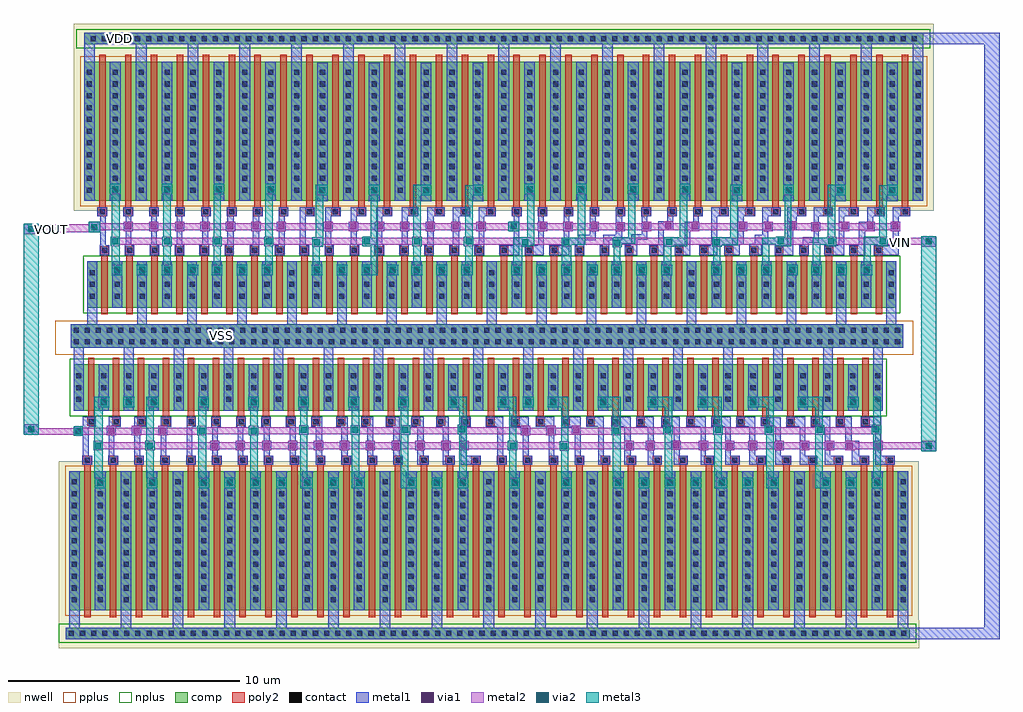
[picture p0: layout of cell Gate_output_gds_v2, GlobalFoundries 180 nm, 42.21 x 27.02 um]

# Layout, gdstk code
from math import pi, radians
import gdstk
lib = gdstk.Library(unit=1e-6, precision=1e-09)
def R(c, l, rs):  # rectangles x0, y0, x1, y1
    for r in rs: c.add(gdstk.rectangle(r[:2], r[2:], *l))
def A(c, l, x, y, w, h, nx, ny, dx, dy):  # array of equal rectangles
    R(c, l, [(x+i*dx, y+j*dy, x+i*dx+w, y+j*dy+h) for i in range(nx) for j in range(ny)])
nwell = (21, 0)
comp = (22, 0)
poly2 = (30, 0)
pplus = (31, 0)
nplus = (32, 0)
contact = (33, 0)
metal1 = (34, 0)
via1 = (35, 0)
metal2 = (36, 0)
via2 = (38, 0)
metal3 = (42, 0)

via_dev_13 = lib.new_cell('via_dev$13')
R(via_dev_13, comp, [(0,0,36,1)])
A(via_dev_13, contact, 0.13, 0.15, 0.22, 0.22, 75, 2, 0.48, 0.48)
R(via_dev_13, metal1, [(0,0,36,1)])

via_dev_10 = lib.new_cell('via_dev$10')
R(via_dev_10, comp, [(0,0,36.3,0.5)])
A(via_dev_10, contact, 0.28, 0.14, 0.22, 0.22, 75, 1, 0.48, 0)
R(via_dev_10, metal1, [(0,0,36.3,0.5)])

via_dev_15 = lib.new_cell('via_dev$15')
R(via_dev_15, comp, [(0,0,36.5,0.5)])
A(via_dev_15, contact, 0.14, 0.14, 0.22, 0.22, 76, 1, 0.48, 0)
R(via_dev_15, metal1, [(0,0,36.5,0.5)])

pfet = lib.new_cell('pfet')
R(pfet, nwell, [(-0.9,-0.44,1.56,6.44)])
R(pfet, comp, [(-0.46,0,0,6), (0,0,0.66,6), (0.66,0,1.12,6)])
R(pfet, poly2, [(0.14,-0.68,0.52,-0.3), (0.19,-0.3,0.47,6.3)])
R(pfet, pplus, [(-0.63,-0.24,1.29,6.24)])
A(pfet, contact, -0.34, 0.34, 0.22, 0.22, 1, 11, 0, 0.51)
A(pfet, contact, 0.78, 0.34, 0.22, 0.22, 1, 11, 0, 0.51)
R(pfet, contact, [(0.22,-0.6,0.44,-0.38)])
R(pfet, metal1, [(0.14,-0.681,0.52,-0.299), (-0.42,0.26,-0.04,5.74), (0.7,0.26,1.08,5.74)])

nfet = lib.new_cell('nfet')
R(nfet, comp, [(-0.42,0,0,2), (0,0,0.66,2), (0.66,0,1.08,2)])
R(nfet, poly2, [(0.19,-0.3,0.47,2.3), (0.15,2.3,0.51,2.66)])
R(nfet, nplus, [(-0.59,-0.24,1.25,2.24)])
A(nfet, contact, -0.32, 0.38, 0.22, 0.22, 1, 3, 0, 0.51)
A(nfet, contact, 0.76, 0.38, 0.22, 0.22, 1, 3, 0, 0.51)
R(nfet, contact, [(0.22,2.37,0.44,2.59)])
R(nfet, metal1, [(-0.4,0.3,-0.02,1.7), (0.68,0.3,1.06,1.7), (0.14,2.289,0.52,2.671)])

via_dev = lib.new_cell('via_dev')
R(via_dev, metal1, [(0,0,0.46,0.46)])
R(via_dev, via1, [(0.1,0.1,0.36,0.36)])
R(via_dev, metal2, [(0,0,0.46,0.46)])
R(via_dev, via2, [(0.1,0.1,0.36,0.36)])
R(via_dev, metal3, [(0,0,0.46,0.46)])

via_dev_6 = lib.new_cell('via_dev$6')
R(via_dev_6, metal1, [(0,0,0.4,0.4)])
R(via_dev_6, via1, [(0.07,0.07,0.33,0.33)])
R(via_dev_6, metal2, [(0,0,0.4,0.4)])

via_dev_4 = lib.new_cell('via_dev$4')
R(via_dev_4, metal1, [(0,0,0.48,0.46)])
R(via_dev_4, via1, [(0.11,0.1,0.37,0.36)])
R(via_dev_4, metal2, [(0,0,0.48,0.46)])
R(via_dev_4, via2, [(0.11,0.1,0.37,0.36)])
R(via_dev_4, metal3, [(0,0,0.48,0.46)])

via_dev_5 = lib.new_cell('via_dev$5')
R(via_dev_5, metal2, [(0,0,0.4,0.4)])
R(via_dev_5, via2, [(0.07,0.07,0.33,0.33)])
R(via_dev_5, metal3, [(0,0,0.4,0.4)])

via_dev_7 = lib.new_cell('via_dev$7')
R(via_dev_7, metal1, [(0,0,0.65,0.46)])
R(via_dev_7, via1, [(0.195,0.1,0.455,0.36)])
R(via_dev_7, metal2, [(0,0,0.65,0.46)])
R(via_dev_7, via2, [(0.195,0.1,0.455,0.36)])
R(via_dev_7, metal3, [(0,0,0.65,0.46)])

via_dev_11 = lib.new_cell('via_dev$11')
R(via_dev_11, metal1, [(0,0,0.48,0.4)])
R(via_dev_11, via1, [(0.11,0.07,0.37,0.33)])
R(via_dev_11, metal2, [(0,0,0.48,0.4)])
R(via_dev_11, via2, [(0.11,0.07,0.37,0.33)])
R(via_dev_11, metal3, [(0,0,0.48,0.4)])

via_dev_8 = lib.new_cell('via_dev$8')
R(via_dev_8, metal1, [(0,0,0.4,0.4)])
R(via_dev_8, via1, [(0.07,0.07,0.33,0.33)])
R(via_dev_8, metal2, [(0,0,0.4,0.4)])
R(via_dev_8, via2, [(0.07,0.07,0.33,0.33)])
R(via_dev_8, metal3, [(0,0,0.4,0.4)])

gate_output_gds_v2 = lib.new_cell('Gate_output_gds_v2')
R(gate_output_gds_v2, nwell, [(19.78,-10.48,57.01,-9.27), (20.44,15.33,57.63,16.54)])
R(gate_output_gds_v2, pplus, [(19.63,2.22,56.74,3.7)])
R(gate_output_gds_v2, nplus, [(19.78,-10.24,56.88,-9.42), (20.54,15.48,57.47,16.3)])
A(gate_output_gds_v2, metal1, 20.23, -9.58, 0.46, 6.75, 3, 1, 2.24, 0)
A(gate_output_gds_v2, metal1, 24.71, -9.58, 0.46, 6.75, 3, 1, 2.24, 0)
A(gate_output_gds_v2, metal1, 29.19, -9.58, 0.46, 6.75, 7, 1, 2.24, 0)
A(gate_output_gds_v2, metal1, 42.63, -9.58, 0.46, 6.75, 3, 1, 2.24, 0)
A(gate_output_gds_v2, metal1, 47.11, -9.58, 0.46, 6.75, 5, 1, 2.24, 0)
A(gate_output_gds_v2, metal1, 21.35, -8.83, 0.46, 6, 6, 1, 2.24, 0)
A(gate_output_gds_v2, metal1, 37.03, -8.83, 0.46, 6, 7, 1, 2.24, 0)
A(gate_output_gds_v2, metal1, 20.81, -2.54, 0.42, 0.4, 6, 1, 1.12, 0)
A(gate_output_gds_v2, metal1, 28.65, -2.54, 0.42, 0.4, 15, 1, 1.12, 0)
A(gate_output_gds_v2, metal1, 46.57, -2.54, 0.42, 0.4, 3, 1, 1.12, 0)
A(gate_output_gds_v2, metal1, 20.44, -0.2, 0.42, 2.73, 3, 1, 2.16, 0)
A(gate_output_gds_v2, metal1, 21.52, -0.2, 0.42, 2, 16, 1, 2.16, 0)
A(gate_output_gds_v2, metal1, 24.76, -0.2, 0.42, 2.73, 3, 1, 2.16, 0)
A(gate_output_gds_v2, metal1, 29.08, -0.2, 0.42, 2.73, 13, 1, 2.16, 0)
A(gate_output_gds_v2, metal1, 21.02, 3.53, 0.42, 2.73, 3, 1, 2.16, 0)
A(gate_output_gds_v2, metal1, 25.34, 3.53, 0.42, 2.73, 3, 1, 2.16, 0)
A(gate_output_gds_v2, metal1, 33.98, 3.53, 0.42, 2.73, 11, 1, 2.16, 0)
A(gate_output_gds_v2, metal1, 22.1, 4.26, 0.42, 2, 16, 1, 2.16, 0)
A(gate_output_gds_v2, metal1, 22.64, 6.53, 0.4, 0.42, 4, 1, 4.32, 0)
A(gate_output_gds_v2, metal1, 22.68, 6.83, 0.25, 1.379, 3, 1, 1.1, 0)
A(gate_output_gds_v2, metal1, 31.32, 6.83, 0.25, 1.379, 3, 1, 1.1, 0)
A(gate_output_gds_v2, metal1, 21.46, 8.2, 0.42, 0.4, 8, 1, 1.12, 0)
A(gate_output_gds_v2, metal1, 39.38, 8.2, 0.42, 0.4, 4, 1, 1.12, 0)
A(gate_output_gds_v2, metal1, 44.98, 8.2, 0.42, 0.4, 3, 1, 1.12, 0)
A(gate_output_gds_v2, metal1, 30.96, 8.85, 0.46, 6, 4, 1, 2.24, 0)
A(gate_output_gds_v2, metal1, 48.88, 8.85, 0.46, 6, 4, 1, 2.24, 0)
A(gate_output_gds_v2, metal1, 20.88, 8.89, 0.46, 6.75, 3, 1, 2.24, 0)
A(gate_output_gds_v2, metal1, 22, 8.89, 0.46, 6, 4, 1, 2.24, 0)
A(gate_output_gds_v2, metal1, 25.36, 8.89, 0.46, 6.75, 9, 1, 2.24, 0)
A(gate_output_gds_v2, metal1, 39.92, 8.89, 0.46, 6, 4, 1, 2.24, 0)
A(gate_output_gds_v2, metal1, 43.28, 8.89, 0.46, 6.75, 7, 1, 2.24, 0)
R(gate_output_gds_v2, metal1, [(56.58,-10.08,60.47,-9.58), (59.8,-10.08,60.47,16.14), (34.8,-8.83,35.26,-2.83), (52.72,-8.83,53.18,-2.83), (54.95,-8.83,55.41,-2.83), (27.52,-2.54,27.95,-2.14), (35.28,-2.54,35.56,-0.47), (36.4,-2.54,36.65,-0.47), (37.18,-2.54,37.63,-2.14), (43.12,-2.54,43.36,-0.47), (44.25,-2.54,44.52,-0.89), (45.26,-2.54,45.51,-0.47), (45.44,-2.54,45.87,-2.14), (46.38,-2.54,46.64,-0.47), (47.54,-2.54,47.77,-0.47), (48.62,-2.54,48.85,-0.47), (49.64,-2.54,49.91,-0.47), (49.91,-2.54,50.35,-2.14), (50.78,-2.54,51.01,-0.48), (51.01,-2.54,51.47,-2.14), (51.83,-2.54,52.07,-0.47), (52.07,-2.54,52.59,-2.14), (52.92,-2.54,53.16,-0.47), (53.16,-2.54,53.71,-2.14), (54.07,-2.54,54.41,-1.51), (54.41,-2.54,54.83,-2.14), (55.1,-2.54,55.55,-2.14), (55.53,-2.54,55.95,-2.14), (23.05,-2.15,23.3,-0.47), (24.19,-2.15,24.44,-0.47), (40.97,-2.15,41.22,-0.47), (42.11,-2.15,42.36,-0.47), (20.83,-2.149,21.08,-0.47), (21.94,-2.149,22.19,-0.47), (25.31,-2.149,25.56,-0.89), (26.42,-2.149,26.67,-0.89), (27.52,-2.149,27.77,-0.77), (28.65,-2.149,28.9,-0.77), (29.77,-2.149,30.03,-0.77), (30.89,-2.149,31.17,-0.77), (32.01,-2.149,32.29,-0.77), (33.13,-2.149,33.38,-0.77), (34.25,-2.149,34.53,-0.77), (38.75,-2.149,39,-0.47), (39.86,-2.149,40.11,-0.47), (37.18,-2.14,37.44,-0.77), (55.1,-2.14,55.36,-0.47), (53.8,-1.51,54.07,-0.47), (41.51,-0.91,42.14,-0.47), (20.97,-0.89,21.39,-0.47), (22.06,-0.89,22.46,-0.47), (23.14,-0.89,23.56,-0.47), (24.22,-0.89,24.64,-0.47), (25.31,-0.89,25.71,-0.47), (26.38,-0.89,26.78,-0.47), (27.46,-0.89,27.88,-0.47), (28.54,-0.89,28.96,-0.47), (29.61,-0.89,30.03,-0.47), (30.7,-0.89,31.17,-0.47), (31.78,-0.89,32.29,-0.47), (32.86,-0.89,33.38,-0.47), (33.93,-0.89,34.53,-0.47), (35.02,-0.89,35.42,-0.47), (36.1,-0.89,36.52,-0.47), (37.18,-0.89,37.61,-0.47), (38.25,-0.89,38.75,-0.47), (39.34,-0.89,39.86,-0.47), (40.42,-0.89,40.97,-0.47), (42.6,-0.89,43.12,-0.47), (43.68,-0.89,44.52,-0.47), (44.76,-0.89,45.26,-0.47), (45.84,-0.89,46.38,-0.47), (46.92,-0.89,47.54,-0.47), (48,-0.89,48.62,-0.47), (49.08,-0.89,49.64,-0.47), (51.24,-0.89,51.83,-0.47), (52.3,-0.89,52.92,-0.47), (53.39,-0.89,53.8,-0.47), (54.46,-0.89,55.1,-0.47), (50.15,-0.88,50.78,-0.48), (31.83,3.53,32.25,6.26), (21.55,6.53,21.97,6.95), (23.72,6.53,24.14,6.95), (24.8,6.53,25.22,6.95), (25.87,6.53,26.29,6.95), (28.04,6.53,28.46,6.95), (29.12,6.53,29.55,6.95), (30.19,6.53,30.61,6.95), (32.36,6.53,32.78,6.95), (33.44,6.53,33.86,6.95), (34.51,6.53,34.93,6.95), (36.68,6.53,37.1,6.95), (37.76,6.53,38.19,6.95), (38.84,6.53,39.26,6.95), (39.26,6.53,39.7,6.95), (39.93,6.53,40.76,6.95), (40.99,6.53,41.86,6.95), (42.09,6.53,42.51,6.95), (43.18,6.53,43.6,6.95), (44.26,6.53,44.66,6.95), (44.55,6.53,44.8,7.44), (45.32,6.53,45.74,6.95), (45.72,6.53,45.95,8), (46.42,6.53,46.85,6.95), (46.85,6.53,47.09,7.97), (47.48,6.53,48.26,6.95), (48.56,6.53,49.24,6.95), (49.64,6.53,50.18,7.01), (50.74,6.53,51.37,6.95), (51.3,6.53,51.55,8.2), (51.81,6.53,52.23,6.95), (52.89,6.53,53.29,6.95), (53.29,6.53,53.56,6.95), (53.52,6.53,53.75,8.2), (53.98,6.53,54.39,6.95), (54.39,6.53,54.67,7.97), (55.03,6.53,56.11,6.95), (21.57,6.83,21.82,8.209), (25.98,6.83,26.24,8.209), (27.08,6.83,27.36,8.209), (28.18,6.83,28.46,8.209), (29.3,6.83,29.55,8.209), (30.21,6.83,30.46,8.209), (34.62,6.83,34.88,8.209), (35.72,6.83,36,8.209), (36.82,6.83,37.1,8.209), (37.94,6.83,38.19,8.209), (42.23,6.931,42.51,7.41), (39.47,6.95,39.7,8.209), (40.53,6.95,40.76,8.209), (41.62,6.95,41.86,8.209), (43.33,6.95,43.6,7.41), (48.01,6.95,48.26,8.2), (48.92,6.95,49.24,7.28), (51.96,6.95,52.23,7.29), (55.86,6.95,56.11,8.209), (49.15,6.97,49.4,8.209), (49.88,7.01,50.47,7.4), (50.22,7.01,50.47,8.209), (52.23,7.06,52.48,7.29), (52.43,7.06,52.66,8.2), (42.51,7.18,42.74,7.41), (42.74,7.18,43.01,8.209), (43.6,7.18,43.87,7.41), (43.87,7.18,44.16,8.209), (44.55,7.2,45.24,7.44), (45,7.2,45.24,8.209), (47.22,7.97,47.47,8.209), (54.74,7.97,55.02,8.209), (46.1,8,46.35,8.209), (51.55,8,51.7,8.2), (30.21,8.2,30.85,8.6), (31.32,8.2,31.99,8.6), (32.42,8.2,33.08,8.6), (33.52,8.2,34.2,8.6), (34.62,8.2,35.34,8.6), (35.72,8.2,36.47,8.6), (36.82,8.2,37.58,8.6), (37.94,8.2,38.69,8.6), (43.87,8.2,44.28,8.6), (48.01,8.2,48.77,8.6), (49.15,8.2,49.91,8.6), (50.22,8.2,51,8.6), (51.3,8.2,52.12,8.6), (52.43,8.2,53.26,8.6), (53.52,8.2,54.39,8.6), (54.74,8.2,55.5,8.6), (55.86,8.2,56.61,8.6), (57.18,15.64,60.47,16.14)])
R(gate_output_gds_v2, metal2, [(21.69,-1.86,23.93,-1.56), (23.93,-1.86,39.21,-1.56), (39.61,-1.86,41.85,-1.56), (41.85,-1.86,57.72,-1.56), (18.91,-1.24,20.43,-0.95), (20.83,-1.23,25.77,-0.93), (40.17,-1.23,43.69,-0.93), (26.16,-1.21,39.77,-0.91), (44.08,-1.21,55.36,-0.91), (22.42,6.97,30.75,7.27), (31.15,6.97,40.34,7.27), (40.34,6.97,49.07,7.27), (49.07,6.97,57.09,7.27), (18.91,7.52,21.09,7.87), (21.09,7.6,29.21,7.9), (29.61,7.6,39.01,7.9), (39.01,7.6,47.13,7.9), (47.49,7.6,55.77,7.9)])
R(gate_output_gds_v2, metal3, [(34.58,-3.56,34.9,-0.06), (30.22,-3.55,30.54,-0.06), (32.46,-3.55,32.78,-0.06), (48.14,-3.55,48.46,-0.06), (50.38,-3.55,50.7,-0.06), (52.5,-3.55,52.82,-0.06), (21.33,-3.09,21.69,0.4), (23.57,-3.09,23.89,0.4), (25.82,-3.09,26.16,-0.06), (28.07,-3.09,28.39,-0.06), (37.1,-3.09,37.42,0.4), (39.27,-3.09,39.58,0.4), (41.51,-3.09,41.81,0.4), (43.75,-3.09,44.08,0.4), (45.99,-3.09,46.31,-0.06), (55.02,-3.09,55.34,0.4), (57.09,-1.95,57.74,6.89), (18.26,-1.24,18.91,7.89), (39.24,-0.06,39.27,0.4), (41.4,-0.06,41.51,0.4), (43.56,-0.06,43.75,0.4), (45.72,-0.06,46.31,0.4), (47.88,-0.06,48.46,0.4), (50.06,-0.06,50.7,0.4), (52.2,-0.06,52.82,0.4), (30.78,5.66,31.08,6.89), (33.27,5.66,33.59,9.11), (48.09,5.66,48.39,6.89), (50.22,5.66,50.52,7.27), (22.08,6.12,22.42,9.15), (24.31,6.12,24.63,9.15), (26.48,6.12,26.8,9.15), (28.72,6.12,29.04,9.15), (35.12,6.12,35.44,9.57), (37.36,6.12,37.68,9.56), (39.44,6.12,39.82,7.29), (41.54,6.12,41.94,7.27), (43.78,6.12,44.06,7.01), (45.95,6.12,46.27,7.3), (52.4,6.12,52.72,7.27), (54.59,6.12,54.91,7.32), (30.91,6.89,31.23,9.57), (46.39,6.92,46.96,7.3), (51.19,6.92,51.47,9.11), (40.04,6.93,40.34,9.15), (48.45,6.96,49.15,7.29), (41.94,6.97,42.55,7.28), (48.83,6.97,49.15,9.57), (52.72,6.97,53,7.27), (54.91,6.97,55.23,7.32), (50.52,6.99,50.83,7.27), (43.78,7.01,44.72,7.31), (44.42,7.27,44.72,9.15), (42.23,7.28,42.55,9.15), (46.64,7.3,46.96,9.15), (53.04,7.32,53.36,9.57), (55.28,7.32,55.6,9.56)])
gate_output_gds_v2.add(gdstk.Reference(via_dev_13, (56.3,3.53), rotation=pi))
gate_output_gds_v2.add(gdstk.Reference(via_dev_10, (57.18,15.64), rotation=pi, x_reflection=True))
gate_output_gds_v2.add(gdstk.Reference(via_dev_15, (20.08,-9.58), x_reflection=True))
gate_output_gds_v2.add(gdstk.Reference(pfet, (37.49,-2.83), x_reflection=True))
gate_output_gds_v2.add(gdstk.Reference(pfet, (38.14,8.89)))
gate_output_gds_v2.add(gdstk.Reference(nfet, (37.64,4.26)))
gate_output_gds_v2.add(gdstk.Reference(pfet, (38.61,-2.83), x_reflection=True))
gate_output_gds_v2.add(gdstk.Reference(nfet, (38.14,1.8), x_reflection=True))
gate_output_gds_v2.add(gdstk.Reference(pfet, (37.02,8.89)))
gate_output_gds_v2.add(gdstk.Reference(via_dev, (37.68,9.11)))
gate_output_gds_v2.add(gdstk.Reference(via_dev_6, (37.85,7.57)))
gate_output_gds_v2.add(gdstk.Reference(nfet, (37.06,1.8), x_reflection=True))
gate_output_gds_v2.add(gdstk.Reference(pfet, (53.82,8.89)))
gate_output_gds_v2.add(gdstk.Reference(via_dev, (51.28,5.66)))
gate_output_gds_v2.add(gdstk.Reference(via_dev, (53.36,9.11)))
gate_output_gds_v2.add(gdstk.Reference(via_dev, (55.6,9.11)))
gate_output_gds_v2.add(gdstk.Reference(via_dev_4, (54.48,5.66)))
gate_output_gds_v2.add(gdstk.Reference(via_dev_5, (53,6.92)))
gate_output_gds_v2.add(gdstk.Reference(via_dev_5, (55.23,6.92)))
gate_output_gds_v2.add(gdstk.Reference(via_dev_6, (52.32,7.56)))
gate_output_gds_v2.add(gdstk.Reference(via_dev_6, (53.57,7.57)))
gate_output_gds_v2.add(gdstk.Reference(via_dev_6, (54.67,7.57)))
gate_output_gds_v2.add(gdstk.Reference(via_dev_6, (55.77,7.57)))
gate_output_gds_v2.add(gdstk.Reference(via_dev, (52.32,5.66)))
gate_output_gds_v2.add(gdstk.Reference(nfet, (54.92,4.26)))
gate_output_gds_v2.add(gdstk.Reference(nfet, (53.84,4.26)))
gate_output_gds_v2.add(gdstk.Reference(nfet, (51.68,4.26)))
gate_output_gds_v2.add(gdstk.Reference(pfet, (51.58,8.89)))
gate_output_gds_v2.add(gdstk.Reference(via_dev, (50.16,5.66)))
gate_output_gds_v2.add(gdstk.Reference(nfet, (50.6,4.26)))
gate_output_gds_v2.add(gdstk.Reference(via_dev_6, (50.27,7.57)))
gate_output_gds_v2.add(gdstk.Reference(nfet, (52.76,4.26)))
gate_output_gds_v2.add(gdstk.Reference(via_dev, (51.12,9.11)))
gate_output_gds_v2.add(gdstk.Reference(via_dev_5, (50.8,6.92)))
gate_output_gds_v2.add(gdstk.Reference(via_dev_7, (57.09,6.89)))
gate_output_gds_v2.add(gdstk.Reference(via_dev_6, (51.3,7.6)))
gate_output_gds_v2.add(gdstk.Reference(via_dev, (49.08,5.66)))
gate_output_gds_v2.add(gdstk.Reference(pfet, (49.34,8.89)))
gate_output_gds_v2.add(gdstk.Reference(nfet, (48.44,4.26)))
gate_output_gds_v2.add(gdstk.Reference(via_dev_6, (49.15,7.57)))
gate_output_gds_v2.add(gdstk.Reference(pfet, (48.22,8.89)))
gate_output_gds_v2.add(gdstk.Reference(nfet, (47.36,4.26)))
gate_output_gds_v2.add(gdstk.Reference(via_dev, (48.88,9.11)))
gate_output_gds_v2.add(gdstk.Reference(via_dev, (48,5.66)))
gate_output_gds_v2.add(gdstk.Reference(nfet, (40.88,4.26)))
gate_output_gds_v2.add(gdstk.Reference(pfet, (43.74,8.89)))
gate_output_gds_v2.add(gdstk.Reference(pfet, (45.98,8.89)))
gate_output_gds_v2.add(gdstk.Reference(via_dev, (44.76,5.66)))
gate_output_gds_v2.add(gdstk.Reference(pfet, (44.86,8.89)))
gate_output_gds_v2.add(gdstk.Reference(via_dev, (42.64,5.66)))
gate_output_gds_v2.add(gdstk.Reference(via_dev, (44.4,9.15)))
gate_output_gds_v2.add(gdstk.Reference(via_dev, (46.64,9.15)))
gate_output_gds_v2.add(gdstk.Reference(via_dev_4, (45.84,5.66)))
gate_output_gds_v2.add(gdstk.Reference(via_dev_5, (43.74,6.87)))
gate_output_gds_v2.add(gdstk.Reference(via_dev_5, (45.99,6.9)))
gate_output_gds_v2.add(gdstk.Reference(via_dev_6, (43.87,7.55)))
gate_output_gds_v2.add(gdstk.Reference(via_dev_6, (45,7.57)))
gate_output_gds_v2.add(gdstk.Reference(via_dev_6, (45.95,7.6)))
gate_output_gds_v2.add(gdstk.Reference(via_dev_6, (47.09,7.57)))
gate_output_gds_v2.add(gdstk.Reference(via_dev, (43.68,5.66)))
gate_output_gds_v2.add(gdstk.Reference(nfet, (46.28,4.26)))
gate_output_gds_v2.add(gdstk.Reference(nfet, (45.2,4.26)))
gate_output_gds_v2.add(gdstk.Reference(nfet, (43.04,4.26)))
gate_output_gds_v2.add(gdstk.Reference(pfet, (42.62,8.89)))
gate_output_gds_v2.add(gdstk.Reference(via_dev, (41.52,5.66)))
gate_output_gds_v2.add(gdstk.Reference(nfet, (41.96,4.26)))
gate_output_gds_v2.add(gdstk.Reference(via_dev_6, (41.61,7.57)))
gate_output_gds_v2.add(gdstk.Reference(nfet, (44.12,4.26)))
gate_output_gds_v2.add(gdstk.Reference(via_dev, (42.16,9.15)))
gate_output_gds_v2.add(gdstk.Reference(via_dev_5, (41.54,6.88)))
gate_output_gds_v2.add(gdstk.Reference(pfet, (41.5,8.89)))
gate_output_gds_v2.add(gdstk.Reference(via_dev_6, (42.74,7.57)))
gate_output_gds_v2.add(gdstk.Reference(via_dev, (40.44,5.66)))
gate_output_gds_v2.add(gdstk.Reference(pfet, (40.38,8.89)))
gate_output_gds_v2.add(gdstk.Reference(nfet, (39.8,4.26)))
gate_output_gds_v2.add(gdstk.Reference(via_dev_6, (40.51,7.57)))
gate_output_gds_v2.add(gdstk.Reference(via_dev_5, (48.05,6.89)))
gate_output_gds_v2.add(gdstk.Reference(pfet, (50.46,8.89)))
gate_output_gds_v2.add(gdstk.Reference(via_dev, (39.92,9.15)))
gate_output_gds_v2.add(gdstk.Reference(via_dev, (39.36,5.66)))
gate_output_gds_v2.add(gdstk.Reference(via_dev_5, (39.77,6.89)))
gate_output_gds_v2.add(gdstk.Reference(pfet, (47.1,8.89)))
gate_output_gds_v2.add(gdstk.Reference(nfet, (49.52,4.26)))
gate_output_gds_v2.add(gdstk.Reference(via_dev_11, (39.22,7.57)))
gate_output_gds_v2.add(gdstk.Reference(pfet, (56.06,8.89)))
gate_output_gds_v2.add(gdstk.Reference(pfet, (52.7,8.89)))
gate_output_gds_v2.add(gdstk.Reference(pfet, (39.26,8.89)))
gate_output_gds_v2.add(gdstk.Reference(nfet, (38.72,4.26)))
gate_output_gds_v2.add(gdstk.Reference(pfet, (54.94,8.89)))
gate_output_gds_v2.add(gdstk.Reference(via_dev, (53.4,5.66)))
gate_output_gds_v2.add(gdstk.Reference(via_dev_6, (28.11,7.57)))
gate_output_gds_v2.add(gdstk.Reference(via_dev_6, (29.21,7.57)))
gate_output_gds_v2.add(gdstk.Reference(via_dev, (26.4,5.66)))
gate_output_gds_v2.add(gdstk.Reference(nfet, (29,4.26)))
gate_output_gds_v2.add(gdstk.Reference(nfet, (27.92,4.26)))
gate_output_gds_v2.add(gdstk.Reference(nfet, (25.76,4.26)))
gate_output_gds_v2.add(gdstk.Reference(pfet, (24.7,8.89)))
gate_output_gds_v2.add(gdstk.Reference(via_dev, (24.24,5.66)))
gate_output_gds_v2.add(gdstk.Reference(nfet, (24.68,4.26)))
gate_output_gds_v2.add(gdstk.Reference(via_dev_6, (23.69,7.57)))
gate_output_gds_v2.add(gdstk.Reference(nfet, (26.84,4.26)))
gate_output_gds_v2.add(gdstk.Reference(via_dev, (24.24,9.15)))
gate_output_gds_v2.add(gdstk.Reference(via_dev_5, (24.27,6.92)))
gate_output_gds_v2.add(gdstk.Reference(via_dev_5, (30.75,6.89)))
gate_output_gds_v2.add(gdstk.Reference(via_dev_6, (24.82,7.57)))
gate_output_gds_v2.add(gdstk.Reference(via_dev, (23.16,5.66)))
gate_output_gds_v2.add(gdstk.Reference(pfet, (22.46,8.89)))
gate_output_gds_v2.add(gdstk.Reference(nfet, (22.52,4.26)))
gate_output_gds_v2.add(gdstk.Reference(via_dev_6, (22.59,7.57)))
gate_output_gds_v2.add(gdstk.Reference(pfet, (21.34,8.89)))
gate_output_gds_v2.add(gdstk.Reference(nfet, (21.44,4.26)))
gate_output_gds_v2.add(gdstk.Reference(via_dev, (22,9.15)))
gate_output_gds_v2.add(gdstk.Reference(via_dev, (22.08,5.66)))
gate_output_gds_v2.add(gdstk.Reference(via_dev_4, (21.09,7.51)))
gate_output_gds_v2.add(gdstk.Reference(via_dev_5, (22.03,6.92)))
gate_output_gds_v2.add(gdstk.Reference(pfet, (32.54,8.89)))
gate_output_gds_v2.add(gdstk.Reference(pfet, (23.58,8.89)))
gate_output_gds_v2.add(gdstk.Reference(nfet, (23.6,4.26)))
gate_output_gds_v2.add(gdstk.Reference(nfet, (32.24,4.26)))
gate_output_gds_v2.add(gdstk.Reference(pfet, (25.82,8.89)))
gate_output_gds_v2.add(gdstk.Reference(pfet, (34.78,8.89)))
gate_output_gds_v2.add(gdstk.Reference(via_dev_5, (26.44,6.92)))
gate_output_gds_v2.add(gdstk.Reference(via_dev, (36.12,5.66)))
gate_output_gds_v2.add(gdstk.Reference(pfet, (35.9,8.89)))
gate_output_gds_v2.add(gdstk.Reference(via_dev, (34,5.66)))
gate_output_gds_v2.add(gdstk.Reference(via_dev, (35.44,9.11)))
gate_output_gds_v2.add(gdstk.Reference(via_dev_5, (28.67,6.92)))
gate_output_gds_v2.add(gdstk.Reference(via_dev_4, (37.2,5.66)))
gate_output_gds_v2.add(gdstk.Reference(via_dev_5, (35.08,6.92)))
gate_output_gds_v2.add(gdstk.Reference(via_dev_5, (37.31,6.92)))
gate_output_gds_v2.add(gdstk.Reference(via_dev_6, (34.55,7.57)))
gate_output_gds_v2.add(gdstk.Reference(via_dev_6, (35.65,7.57)))
gate_output_gds_v2.add(gdstk.Reference(via_dev_6, (36.75,7.57)))
gate_output_gds_v2.add(gdstk.Reference(via_dev_6, (25.91,7.57)))
gate_output_gds_v2.add(gdstk.Reference(via_dev, (35.04,5.66)))
gate_output_gds_v2.add(gdstk.Reference(pfet, (28.06,8.89)))
gate_output_gds_v2.add(gdstk.Reference(nfet, (36.56,4.26)))
gate_output_gds_v2.add(gdstk.Reference(nfet, (34.4,4.26)))
gate_output_gds_v2.add(gdstk.Reference(pfet, (33.66,8.89)))
gate_output_gds_v2.add(gdstk.Reference(via_dev, (32.88,5.66)))
gate_output_gds_v2.add(gdstk.Reference(nfet, (33.32,4.26)))
gate_output_gds_v2.add(gdstk.Reference(via_dev_6, (32.33,7.57)))
gate_output_gds_v2.add(gdstk.Reference(nfet, (35.48,4.26)))
gate_output_gds_v2.add(gdstk.Reference(via_dev, (33.2,9.11)))
gate_output_gds_v2.add(gdstk.Reference(via_dev_5, (32.91,6.92)))
gate_output_gds_v2.add(gdstk.Reference(via_dev_6, (33.46,7.57)))
gate_output_gds_v2.add(gdstk.Reference(via_dev, (31.8,5.66)))
gate_output_gds_v2.add(gdstk.Reference(pfet, (31.42,8.89)))
gate_output_gds_v2.add(gdstk.Reference(nfet, (31.16,4.26)))
gate_output_gds_v2.add(gdstk.Reference(via_dev_6, (31.23,7.57)))
gate_output_gds_v2.add(gdstk.Reference(pfet, (30.3,8.89)))
gate_output_gds_v2.add(gdstk.Reference(nfet, (30.08,4.26)))
gate_output_gds_v2.add(gdstk.Reference(via_dev, (30.96,9.11)))
gate_output_gds_v2.add(gdstk.Reference(via_dev, (30.72,5.66)))
gate_output_gds_v2.add(gdstk.Reference(pfet, (29.18,8.89)))
gate_output_gds_v2.add(gdstk.Reference(via_dev, (27.48,5.66)))
gate_output_gds_v2.add(gdstk.Reference(pfet, (26.94,8.89)))
gate_output_gds_v2.add(gdstk.Reference(via_dev, (25.36,5.66)))
gate_output_gds_v2.add(gdstk.Reference(via_dev, (26.48,9.15)))
gate_output_gds_v2.add(gdstk.Reference(via_dev, (28.72,9.15)))
gate_output_gds_v2.add(gdstk.Reference(via_dev_4, (28.56,5.66)))
gate_output_gds_v2.add(gdstk.Reference(via_dev_6, (27.01,7.57)))
gate_output_gds_v2.add(gdstk.Reference(via_dev_7, (18.26,7.43)))
gate_output_gds_v2.add(gdstk.Reference(via_dev, (21.35,-3.09), x_reflection=True))
gate_output_gds_v2.add(gdstk.Reference(pfet, (21.81,-2.83), x_reflection=True))
gate_output_gds_v2.add(gdstk.Reference(via_dev_6, (26.33,-1.51), x_reflection=True))
gate_output_gds_v2.add(gdstk.Reference(via_dev, (25.82,0.4), x_reflection=True))
gate_output_gds_v2.add(gdstk.Reference(nfet, (25.18,1.8), x_reflection=True))
gate_output_gds_v2.add(gdstk.Reference(via_dev, (25.83,-3.09), x_reflection=True))
gate_output_gds_v2.add(gdstk.Reference(via_dev, (26.95,-3.09), x_reflection=True))
gate_output_gds_v2.add(gdstk.Reference(pfet, (26.29,-2.83), x_reflection=True))
gate_output_gds_v2.add(gdstk.Reference(nfet, (26.26,1.8), x_reflection=True))
gate_output_gds_v2.add(gdstk.Reference(nfet, (21.94,1.8), x_reflection=True))
gate_output_gds_v2.add(gdstk.Reference(nfet, (34.9,1.8), x_reflection=True))
gate_output_gds_v2.add(gdstk.Reference(nfet, (35.98,1.8), x_reflection=True))
gate_output_gds_v2.add(gdstk.Reference(via_dev, (22.58,0.4), x_reflection=True))
gate_output_gds_v2.add(gdstk.Reference(via_dev, (34.46,0.4), x_reflection=True))
gate_output_gds_v2.add(gdstk.Reference(via_dev_6, (36.33,-1.51), x_reflection=True))
gate_output_gds_v2.add(gdstk.Reference(via_dev_6, (37.11,-1.51), x_reflection=True))
gate_output_gds_v2.add(gdstk.Reference(via_dev_6, (35.21,-1.51), x_reflection=True))
gate_output_gds_v2.add(gdstk.Reference(via_dev_6, (34.18,-1.51), x_reflection=True))
gate_output_gds_v2.add(gdstk.Reference(via_dev_5, (37.03,-0.81), x_reflection=True))
gate_output_gds_v2.add(gdstk.Reference(nfet, (33.82,1.8), x_reflection=True))
gate_output_gds_v2.add(gdstk.Reference(via_dev_5, (34.58,-0.83), x_reflection=True))
gate_output_gds_v2.add(gdstk.Reference(via_dev_4, (36.62,0.4), x_reflection=True))
gate_output_gds_v2.add(gdstk.Reference(via_dev, (37.03,-3.09), x_reflection=True))
gate_output_gds_v2.add(gdstk.Reference(via_dev, (35.91,-3.09), x_reflection=True))
gate_output_gds_v2.add(gdstk.Reference(via_dev, (34.8,-3.09), x_reflection=True))
gate_output_gds_v2.add(gdstk.Reference(pfet, (34.13,-2.83), x_reflection=True))
gate_output_gds_v2.add(gdstk.Reference(via_dev_6, (27.43,-1.51), x_reflection=True))
gate_output_gds_v2.add(gdstk.Reference(pfet, (36.37,-2.83), x_reflection=True))
gate_output_gds_v2.add(gdstk.Reference(pfet, (35.25,-2.83), x_reflection=True))
gate_output_gds_v2.add(gdstk.Reference(via_dev_5, (28.01,-0.86), x_reflection=True))
gate_output_gds_v2.add(gdstk.Reference(nfet, (30.58,1.8), x_reflection=True))
gate_output_gds_v2.add(gdstk.Reference(pfet, (28.53,-2.83), x_reflection=True))
gate_output_gds_v2.add(gdstk.Reference(via_dev, (27.98,0.4), x_reflection=True))
gate_output_gds_v2.add(gdstk.Reference(via_dev, (28.07,-3.09), x_reflection=True))
gate_output_gds_v2.add(gdstk.Reference(nfet, (31.66,1.8), x_reflection=True))
gate_output_gds_v2.add(gdstk.Reference(nfet, (32.74,1.8), x_reflection=True))
gate_output_gds_v2.add(gdstk.Reference(via_dev, (30.14,0.4), x_reflection=True))
gate_output_gds_v2.add(gdstk.Reference(via_dev_6, (33.06,-1.51), x_reflection=True))
gate_output_gds_v2.add(gdstk.Reference(via_dev_6, (31.94,-1.51), x_reflection=True))
gate_output_gds_v2.add(gdstk.Reference(via_dev_6, (30.82,-1.51), x_reflection=True))
gate_output_gds_v2.add(gdstk.Reference(via_dev_6, (29.7,-1.51), x_reflection=True))
gate_output_gds_v2.add(gdstk.Reference(via_dev_5, (32.41,-0.83), x_reflection=True))
gate_output_gds_v2.add(gdstk.Reference(nfet, (29.5,1.8), x_reflection=True))
gate_output_gds_v2.add(gdstk.Reference(via_dev_5, (30.18,-0.83), x_reflection=True))
gate_output_gds_v2.add(gdstk.Reference(via_dev_4, (32.3,0.4), x_reflection=True))
gate_output_gds_v2.add(gdstk.Reference(via_dev, (32.55,-3.09), x_reflection=True))
gate_output_gds_v2.add(gdstk.Reference(nfet, (28.42,1.8), x_reflection=True))
gate_output_gds_v2.add(gdstk.Reference(via_dev, (31.43,-3.09), x_reflection=True))
gate_output_gds_v2.add(gdstk.Reference(via_dev, (30.31,-3.09), x_reflection=True))
gate_output_gds_v2.add(gdstk.Reference(via_dev, (29.19,-3.09), x_reflection=True))
gate_output_gds_v2.add(gdstk.Reference(pfet, (30.77,-2.83), x_reflection=True))
gate_output_gds_v2.add(gdstk.Reference(pfet, (33.01,-2.83), x_reflection=True))
gate_output_gds_v2.add(gdstk.Reference(pfet, (31.89,-2.83), x_reflection=True))
gate_output_gds_v2.add(gdstk.Reference(pfet, (29.65,-2.83), x_reflection=True))
gate_output_gds_v2.add(gdstk.Reference(via_dev_6, (28.58,-1.51), x_reflection=True))
gate_output_gds_v2.add(gdstk.Reference(nfet, (27.34,1.8), x_reflection=True))
gate_output_gds_v2.add(gdstk.Reference(pfet, (27.41,-2.83), x_reflection=True))
gate_output_gds_v2.add(gdstk.Reference(pfet, (25.17,-2.83), x_reflection=True))
gate_output_gds_v2.add(gdstk.Reference(via_dev_6, (24.08,-1.26)))
gate_output_gds_v2.add(gdstk.Reference(via_dev_6, (22.95,-1.26)))
gate_output_gds_v2.add(gdstk.Reference(via_dev_6, (21.85,-1.26)))
gate_output_gds_v2.add(gdstk.Reference(via_dev_8, (20.43,-1.28)))
gate_output_gds_v2.add(gdstk.Reference(via_dev_5, (21.29,-1.91)))
gate_output_gds_v2.add(gdstk.Reference(via_dev_5, (23.53,-1.91)))
gate_output_gds_v2.add(gdstk.Reference(via_dev_5, (25.77,-0.86), x_reflection=True))
gate_output_gds_v2.add(gdstk.Reference(pfet, (24.05,-2.83), x_reflection=True))
gate_output_gds_v2.add(gdstk.Reference(pfet, (22.93,-2.83), x_reflection=True))
gate_output_gds_v2.add(gdstk.Reference(pfet, (20.69,-2.83), x_reflection=True))
gate_output_gds_v2.add(gdstk.Reference(nfet, (20.86,1.8), x_reflection=True))
gate_output_gds_v2.add(gdstk.Reference(nfet, (23.02,1.8), x_reflection=True))
gate_output_gds_v2.add(gdstk.Reference(nfet, (24.1,1.8), x_reflection=True))
gate_output_gds_v2.add(gdstk.Reference(via_dev, (21.5,0.4), x_reflection=True))
gate_output_gds_v2.add(gdstk.Reference(via_dev, (23.66,0.4), x_reflection=True))
gate_output_gds_v2.add(gdstk.Reference(via_dev, (23.59,-3.09), x_reflection=True))
gate_output_gds_v2.add(gdstk.Reference(via_dev_7, (18.26,-1.24)))
gate_output_gds_v2.add(gdstk.Reference(via_dev_5, (45.93,-0.82), x_reflection=True))
gate_output_gds_v2.add(gdstk.Reference(pfet, (46.45,-2.83), x_reflection=True))
gate_output_gds_v2.add(gdstk.Reference(pfet, (44.21,-2.83), x_reflection=True))
gate_output_gds_v2.add(gdstk.Reference(via_dev, (45.26,0.4), x_reflection=True))
gate_output_gds_v2.add(gdstk.Reference(via_dev, (45.99,-3.09), x_reflection=True))
gate_output_gds_v2.add(gdstk.Reference(via_dev_6, (47.47,-1.51), x_reflection=True))
gate_output_gds_v2.add(gdstk.Reference(nfet, (46.78,1.8), x_reflection=True))
gate_output_gds_v2.add(gdstk.Reference(nfet, (45.7,1.8), x_reflection=True))
gate_output_gds_v2.add(gdstk.Reference(via_dev, (47.11,-3.09), x_reflection=True))
gate_output_gds_v2.add(gdstk.Reference(pfet, (47.57,-2.83), x_reflection=True))
gate_output_gds_v2.add(gdstk.Reference(via_dev_6, (46.28,-1.5), x_reflection=True))
gate_output_gds_v2.add(gdstk.Reference(nfet, (44.62,1.8), x_reflection=True))
gate_output_gds_v2.add(gdstk.Reference(pfet, (45.33,-2.83), x_reflection=True))
gate_output_gds_v2.add(gdstk.Reference(pfet, (43.09,-2.83), x_reflection=True))
gate_output_gds_v2.add(gdstk.Reference(via_dev_6, (41.97,-1.25)))
gate_output_gds_v2.add(gdstk.Reference(via_dev_6, (40.87,-1.26)))
gate_output_gds_v2.add(gdstk.Reference(via_dev_6, (39.77,-1.26)))
gate_output_gds_v2.add(gdstk.Reference(via_dev_5, (39.21,-1.91)))
gate_output_gds_v2.add(gdstk.Reference(via_dev_5, (41.45,-1.93)))
gate_output_gds_v2.add(gdstk.Reference(via_dev_5, (43.69,-0.86), x_reflection=True))
gate_output_gds_v2.add(gdstk.Reference(via_dev_7, (57.09,-1.95)))
gate_output_gds_v2.add(gdstk.Reference(pfet, (41.97,-2.83), x_reflection=True))
gate_output_gds_v2.add(gdstk.Reference(pfet, (40.85,-2.83), x_reflection=True))
gate_output_gds_v2.add(gdstk.Reference(nfet, (43.54,1.8), x_reflection=True))
gate_output_gds_v2.add(gdstk.Reference(nfet, (50.02,1.8), x_reflection=True))
gate_output_gds_v2.add(gdstk.Reference(nfet, (40.3,1.8), x_reflection=True))
gate_output_gds_v2.add(gdstk.Reference(nfet, (41.38,1.8), x_reflection=True))
gate_output_gds_v2.add(gdstk.Reference(via_dev, (38.78,0.4), x_reflection=True))
gate_output_gds_v2.add(gdstk.Reference(via_dev, (40.94,0.4), x_reflection=True))
gate_output_gds_v2.add(gdstk.Reference(via_dev, (39.86,0.4), x_reflection=True))
gate_output_gds_v2.add(gdstk.Reference(via_dev, (41.51,-3.09), x_reflection=True))
gate_output_gds_v2.add(gdstk.Reference(via_dev, (39.27,-3.09), x_reflection=True))
gate_output_gds_v2.add(gdstk.Reference(pfet, (39.73,-2.83), x_reflection=True))
gate_output_gds_v2.add(gdstk.Reference(via_dev_6, (44.25,-1.51), x_reflection=True))
gate_output_gds_v2.add(gdstk.Reference(via_dev, (43.1,0.4), x_reflection=True))
gate_output_gds_v2.add(gdstk.Reference(nfet, (42.46,1.8), x_reflection=True))
gate_output_gds_v2.add(gdstk.Reference(via_dev, (43.75,-3.09), x_reflection=True))
gate_output_gds_v2.add(gdstk.Reference(via_dev, (44.87,-3.09), x_reflection=True))
gate_output_gds_v2.add(gdstk.Reference(via_dev_5, (50.31,-0.83), x_reflection=True))
gate_output_gds_v2.add(gdstk.Reference(nfet, (48.94,1.8), x_reflection=True))
gate_output_gds_v2.add(gdstk.Reference(via_dev_5, (48.1,-0.83), x_reflection=True))
gate_output_gds_v2.add(gdstk.Reference(via_dev_4, (49.58,0.4), x_reflection=True))
gate_output_gds_v2.add(gdstk.Reference(via_dev, (50.47,-3.09), x_reflection=True))
gate_output_gds_v2.add(gdstk.Reference(via_dev, (49.35,-3.09), x_reflection=True))
gate_output_gds_v2.add(gdstk.Reference(via_dev, (48.23,-3.09), x_reflection=True))
gate_output_gds_v2.add(gdstk.Reference(via_dev, (47.42,0.4), x_reflection=True))
gate_output_gds_v2.add(gdstk.Reference(pfet, (48.69,-2.83), x_reflection=True))
gate_output_gds_v2.add(gdstk.Reference(pfet, (50.93,-2.83), x_reflection=True))
gate_output_gds_v2.add(gdstk.Reference(pfet, (49.81,-2.83), x_reflection=True))
gate_output_gds_v2.add(gdstk.Reference(nfet, (52.18,1.8), x_reflection=True))
gate_output_gds_v2.add(gdstk.Reference(nfet, (53.26,1.8), x_reflection=True))
gate_output_gds_v2.add(gdstk.Reference(nfet, (54.34,1.8), x_reflection=True))
gate_output_gds_v2.add(gdstk.Reference(via_dev, (51.74,0.4), x_reflection=True))
gate_output_gds_v2.add(gdstk.Reference(via_dev_6, (53.8,-1.51), x_reflection=True))
gate_output_gds_v2.add(gdstk.Reference(via_dev_6, (55.03,-1.51), x_reflection=True))
gate_output_gds_v2.add(gdstk.Reference(via_dev_6, (52.92,-1.51), x_reflection=True))
gate_output_gds_v2.add(gdstk.Reference(via_dev_6, (51.84,-1.51), x_reflection=True))
gate_output_gds_v2.add(gdstk.Reference(via_dev_5, (54.95,-0.81), x_reflection=True))
gate_output_gds_v2.add(gdstk.Reference(nfet, (51.1,1.8), x_reflection=True))
gate_output_gds_v2.add(gdstk.Reference(via_dev_5, (52.5,-0.83), x_reflection=True))
gate_output_gds_v2.add(gdstk.Reference(via_dev_4, (53.9,0.4), x_reflection=True))
gate_output_gds_v2.add(gdstk.Reference(via_dev, (54.95,-3.09), x_reflection=True))
gate_output_gds_v2.add(gdstk.Reference(via_dev, (53.83,-3.09), x_reflection=True))
gate_output_gds_v2.add(gdstk.Reference(via_dev, (52.72,-3.09), x_reflection=True))
gate_output_gds_v2.add(gdstk.Reference(pfet, (52.05,-2.83), x_reflection=True))
gate_output_gds_v2.add(gdstk.Reference(via_dev_6, (50.75,-1.51), x_reflection=True))
gate_output_gds_v2.add(gdstk.Reference(pfet, (54.29,-2.83), x_reflection=True))
gate_output_gds_v2.add(gdstk.Reference(pfet, (53.17,-2.83), x_reflection=True))
gate_output_gds_v2.add(gdstk.Reference(pfet, (55.41,-2.83), x_reflection=True))
gate_output_gds_v2.add(gdstk.Reference(via_dev_6, (49.6,-1.51), x_reflection=True))
gate_output_gds_v2.add(gdstk.Reference(via_dev_6, (48.6,-1.51), x_reflection=True))
gate_output_gds_v2.add(gdstk.Reference(nfet, (47.86,1.8), x_reflection=True))
gate_output_gds_v2.add(gdstk.Reference(nfet, (39.22,1.8), x_reflection=True))
gate_output_gds_v2.add(gdstk.Reference(via_dev_6, (45.17,-1.51), x_reflection=True))
gate_output_gds_v2.add(gdstk.Label('VDD', (22.42,15.89), layer=34, texttype=10))
gate_output_gds_v2.add(gdstk.Label('VSS', (26.83,3.04), layer=34, texttype=10))
gate_output_gds_v2.add(gdstk.Label('VIN', (56.21,7.082), layer=36, texttype=10))
gate_output_gds_v2.add(gdstk.Label('VOUT', (19.49,7.65), layer=36, texttype=10))

lib.write_gds('Gate_output_gds_v2.gds')
